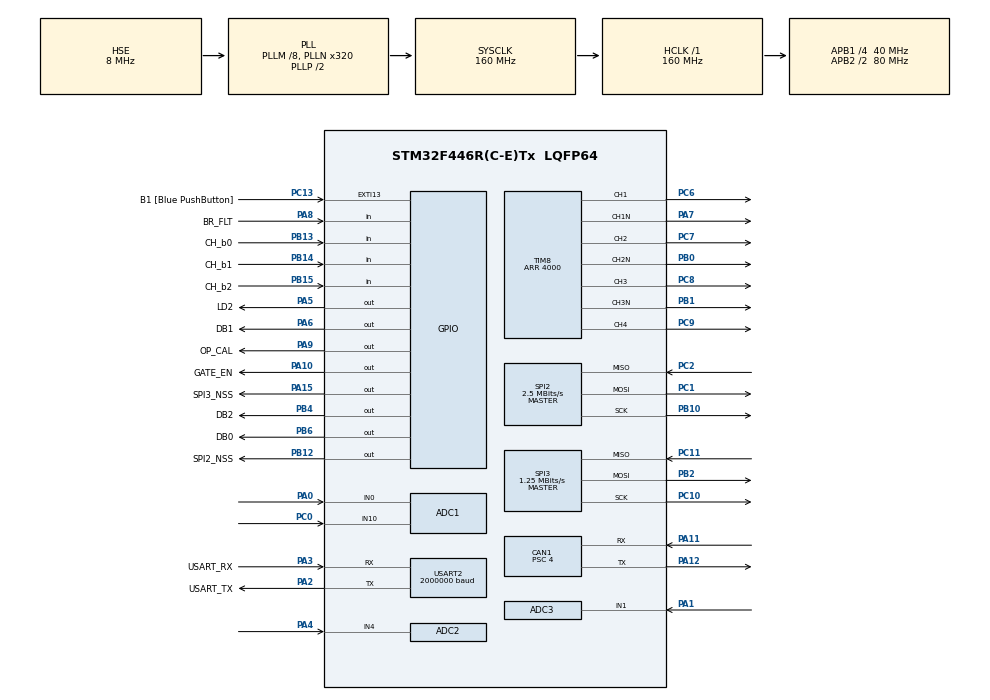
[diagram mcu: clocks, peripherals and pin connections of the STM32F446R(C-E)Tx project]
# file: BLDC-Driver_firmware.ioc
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ADC1.Channel-5\#ChannelRegularConversion=ADC_CHANNEL_0
ADC1.Channel-6\#ChannelInjectedConversion=ADC_CHANNEL_0
ADC1.Channel-7\#ChannelInjectedConversion=ADC_CHANNEL_10
ADC1.ExternalTrigInjecConv=ADC_EXTERNALTRIGINJECCONV_T8_CC4
ADC1.ExternalTrigInjecConvEdge=ADC_EXTERNALTRIGINJECCONVEDGE_RISING
ADC1.InjNumberOfConversion=2
ADC1.InjectedOffset-6\#ChannelInjectedConversion=0
ADC1.InjectedOffset-7\#ChannelInjectedConversion=0
ADC1.InjectedRank-6\#ChannelInjectedConversion=1
ADC1.InjectedRank-7\#ChannelInjectedConversion=2
ADC1.NbrOfConversionFlag=1
ADC1.Rank-5\#ChannelRegularConversion=1
ADC1.SamplingTime-5\#ChannelRegularConversion=ADC_SAMPLETIME_3CYCLES
ADC1.SamplingTime-6\#ChannelInjectedConversion=ADC_SAMPLETIME_3CYCLES
ADC1.SamplingTime-7\#ChannelInjectedConversion=ADC_SAMPLETIME_3CYCLES
ADC1.master=1
ADC2.Channel-0\#ChannelRegularConversion=ADC_CHANNEL_4
ADC2.Channel-1\#ChannelInjectedConversion=ADC_CHANNEL_4
ADC2.ExternalTrigInjecConv=ADC_EXTERNALTRIGINJECCONV_T8_CC4
ADC2.ExternalTrigInjecConvEdge=ADC_EXTERNALTRIGINJECCONVEDGE_RISING
ADC2.InjNumberOfConversion=1
ADC2.InjectedOffset-1\#ChannelInjectedConversion=0
ADC2.InjectedRank-1\#ChannelInjectedConversion=1
ADC2.NbrOfConversionFlag=1
ADC2.Rank-0\#ChannelRegularConversion=1
ADC2.SamplingTime-0\#ChannelRegularConversion=ADC_SAMPLETIME_3CYCLES
ADC2.SamplingTime-1\#ChannelInjectedConversion=ADC_SAMPLETIME_3CYCLES
ADC2.ScanConvMode=ENABLE
ADC3.Channel-0\#ChannelRegularConversion=ADC_CHANNEL_1
ADC3.Channel-1\#ChannelInjectedConversion=ADC_CHANNEL_1
ADC3.ExternalTrigInjecConv=ADC_EXTERNALTRIGINJECCONV_T8_CC4
ADC3.ExternalTrigInjecConvEdge=ADC_EXTERNALTRIGINJECCONVEDGE_RISING
ADC3.InjNumberOfConversion=1
ADC3.InjectedOffset-1\#ChannelInjectedConversion=0
ADC3.InjectedRank-1\#ChannelInjectedConversion=1
ADC3.NbrOfConversionFlag=1
ADC3.Rank-0\#ChannelRegularConversion=1
ADC3.SamplingTime-0\#ChannelRegularConversion=ADC_SAMPLETIME_3CYCLES
ADC3.SamplingTime-1\#ChannelInjectedConversion=ADC_SAMPLETIME_3CYCLES
ADC3.ScanConvMode=ENABLE
CAN1.ABOM=ENABLE
CAN1.AWUM=ENABLE
CAN1.BS1=CAN_BS1_6TQ
CAN1.BS2=CAN_BS2_3TQ
CAN1.CalculateBaudRate=1000000
CAN1.CalculateTimeBit=1000
CAN1.CalculateTimeQuantum=100.0
CAN1.NART=ENABLE
CAN1.Prescaler=4
CAN1.SJW=CAN_SJW_2TQ
Dma.Request0=USART2_RX
Dma.USART2_RX.0.Direction=DMA_PERIPH_TO_MEMORY
Dma.USART2_RX.0.FIFOMode=DMA_FIFOMODE_DISABLE
Dma.USART2_RX.0.Instance=DMA1_Stream5
Dma.USART2_RX.0.MemDataAlignment=DMA_MDATAALIGN_BYTE
Dma.USART2_RX.0.MemInc=DMA_MINC_ENABLE
Dma.USART2_RX.0.Mode=DMA_CIRCULAR
Dma.USART2_RX.0.PeriphDataAlignment=DMA_PDATAALIGN_BYTE
Dma.USART2_RX.0.PeriphInc=DMA_PINC_DISABLE
Dma.USART2_RX.0.Priority=DMA_PRIORITY_LOW
Mcu.Family=STM32F4
Mcu.Name=STM32F446R(C-E)Tx
Mcu.Package=LQFP64
NVIC.ADC_IRQn=true\:0\:0\:true\:false\:true\:true\:true\:true
NVIC.CAN1_RX0_IRQn=true\:3\:0\:true\:false\:true\:true\:true\:true
NVIC.DMA1_Stream5_IRQn=true\:2\:0\:true\:false\:true\:false\:true\:true
NVIC.PriorityGroup=NVIC_PRIORITYGROUP_2
NVIC.SPI2_IRQn=true\:2\:0\:true\:false\:true\:true\:true\:true
NVIC.TIM8_UP_TIM13_IRQn=true\:1\:0\:true\:false\:true\:true\:true\:true
NVIC.USART2_IRQn=true\:3\:0\:true\:false\:true\:true\:true\:true
PA0-WKUP.Signal=ADCx_IN0
PA1.Signal=ADCx_IN1
PA10.GPIO_Label=GATE_EN
PA10.Signal=GPIO_Output
PA11.Mode=CAN_Activate
PA11.Signal=CAN1_RX
PA12.Mode=CAN_Activate
PA12.Signal=CAN1_TX
PA13.GPIO_Label=TMS
PA13.Mode=Serial_Wire
PA13.Signal=SYS_JTMS-SWDIO
PA14.GPIO_Label=TCK
PA14.Mode=Serial_Wire
PA14.Signal=SYS_JTCK-SWCLK
PA15.GPIO_Label=SPI3_NSS
PA15.Signal=GPIO_Output
PA2.GPIO_Label=USART_TX
PA2.Mode=Asynchronous
PA2.Signal=USART2_TX
PA3.GPIO_Label=USART_RX
PA3.Mode=Asynchronous
PA3.Signal=USART2_RX
PA4.Signal=ADCx_IN4
PA5.GPIO_Label=LD2
PA5.Signal=GPIO_Output
PA6.GPIO_Label=DB1
PA6.Signal=GPIO_Output
PA7.Mode=PWM Generation1 CH1 CH1N
PA7.Signal=TIM8_CH1N
PA8.GPIO_Label=BR_FLT
PA8.Signal=GPIO_Input
PA9.GPIO_Label=OP_CAL
PA9.Signal=GPIO_Output
PB0.Mode=PWM Generation2 CH2 CH2N
PB0.Signal=TIM8_CH2N
PB1.Mode=PWM Generation3 CH3 CH3N
PB1.Signal=TIM8_CH3N
PB10.Mode=Full_Duplex_Master
PB10.Signal=SPI2_SCK
PB12.GPIO_Label=SPI2_NSS
PB12.Signal=GPIO_Output
PB13.GPIO_Label=CH_b0
PB13.GPIO_PuPd=GPIO_PULLUP
PB13.Signal=GPIO_Input
PB14.GPIO_Label=CH_b1
PB14.GPIO_PuPd=GPIO_PULLUP
PB14.Signal=GPIO_Input
PB15.GPIO_Label=CH_b2
PB15.GPIO_PuPd=GPIO_PULLUP
PB15.Signal=GPIO_Input
PB2.Mode=Full_Duplex_Master
PB2.Signal=SPI3_MOSI
PB3.GPIO_Label=SWO
PB3.Signal=SYS_JTDO-SWO
PB4.GPIO_Label=DB2
PB4.Signal=GPIO_Output
PB6.GPIO_Label=DB0
PB6.Signal=GPIO_Output
PC0.Signal=ADCx_IN10
PC1.Mode=Full_Duplex_Master
PC1.Signal=SPI2_MOSI
PC10.Mode=Full_Duplex_Master
PC10.Signal=SPI3_SCK
PC11.Mode=Full_Duplex_Master
PC11.Signal=SPI3_MISO
PC13.GPIO_Label=B1 [Blue PushButton]
PC13.GPIO_ModeDefaultEXTI=GPIO_MODE_IT_FALLING
PC13.Signal=GPXTI13
PC14-OSC32_IN.Mode=LSE-External-Oscillator
PC14-OSC32_IN.Signal=RCC_OSC32_IN
PC15-OSC32_OUT.Mode=LSE-External-Oscillator
PC15-OSC32_OUT.Signal=RCC_OSC32_OUT
PC2.Mode=Full_Duplex_Master
PC2.Signal=SPI2_MISO
PC6.Signal=S_TIM8_CH1
PC7.Signal=S_TIM8_CH2
PC8.Signal=S_TIM8_CH3
PC9.Signal=S_TIM8_CH4
PH0-OSC_IN.Mode=HSE-External-Oscillator
PH0-OSC_IN.Signal=RCC_OSC_IN
PH1-OSC_OUT.Mode=HSE-External-Oscillator
PH1-OSC_OUT.Signal=RCC_OSC_OUT
ProjectManager.HeapSize=0x200
ProjectManager.StackSize=0x400
ProjectManager.TargetToolchain=STM32CubeIDE
RCC.48MHZClocksFreq_Value=84000000
RCC.AHBFreq_Value=160000000
RCC.APB1CLKDivider=RCC_HCLK_DIV4
RCC.APB1Freq_Value=40000000
RCC.APB1TimFreq_Value=80000000
RCC.APB2CLKDivider=RCC_HCLK_DIV2
RCC.APB2Freq_Value=80000000
RCC.APB2TimFreq_Value=160000000
RCC.CortexFreq_Value=160000000
RCC.FLatency-AdvancedSettings=FLASH_LATENCY_5
RCC.HCLKFreq_Value=160000000
RCC.HSE_VALUE=8000000
RCC.HSI_VALUE=16000000
RCC.PLLM=8
RCC.PLLN=320
RCC.PLLSourceVirtual=RCC_PLLSOURCE_HSE
RCC.SYSCLKFreq_VALUE=160000000
RCC.SYSCLKSource=RCC_SYSCLKSOURCE_PLLCLK
RCC.USBFreq_Value=160000000
RCC.VCOOutputFreq_Value=320000000
SH.ADCx_IN0.0=ADC1_IN0,IN0
SH.ADCx_IN1.0=ADC3_IN1,IN1
SH.ADCx_IN10.0=ADC1_IN10,IN10
SH.ADCx_IN4.0=ADC2_IN4,IN4
SH.S_TIM8_CH1.0=TIM8_CH1,PWM Generation1 CH1 CH1N
SH.S_TIM8_CH2.0=TIM8_CH2,PWM Generation2 CH2 CH2N
SH.S_TIM8_CH3.0=TIM8_CH3,PWM Generation3 CH3 CH3N
SH.S_TIM8_CH4.0=TIM8_CH4,PWM Generation4 CH4
SPI2.BaudRatePrescaler=SPI_BAUDRATEPRESCALER_16
SPI2.CLKPhase=SPI_PHASE_2EDGE
SPI2.CalculateBaudRate=2.5 MBits/s
SPI2.DataSize=SPI_DATASIZE_16BIT
SPI2.Direction=SPI_DIRECTION_2LINES
SPI2.Mode=SPI_MODE_MASTER
SPI2.VirtualType=VM_MASTER
SPI3.BaudRatePrescaler=SPI_BAUDRATEPRESCALER_32
SPI3.CLKPhase=SPI_PHASE_2EDGE
SPI3.CalculateBaudRate=1.25 MBits/s
SPI3.DataSize=SPI_DATASIZE_8BIT
SPI3.Direction=SPI_DIRECTION_2LINES
SPI3.FirstBit=SPI_FIRSTBIT_MSB
SPI3.Mode=SPI_MODE_MASTER
SPI3.VirtualType=VM_MASTER
TIM8.AutoReloadPreload=TIM_AUTORELOAD_PRELOAD_DISABLE
TIM8.BreakPolarity=TIM_BREAKPOLARITY_LOW
TIM8.Channel-PWM\ Generation1\ CH1\ CH1N=TIM_CHANNEL_1
TIM8.Channel-PWM\ Generation2\ CH2\ CH2N=TIM_CHANNEL_2
TIM8.Channel-PWM\ Generation3\ CH3\ CH3N=TIM_CHANNEL_3
TIM8.Channel-PWM\ Generation4\ CH4=TIM_CHANNEL_4
TIM8.CounterMode=TIM_COUNTERMODE_CENTERALIGNED1
TIM8.DeadTime=0
TIM8.OCNPolarity_3=TIM_OCNPOLARITY_HIGH
TIM8.Period=4000
TIM8.Pulse-PWM\ Generation1\ CH1\ CH1N=2000
TIM8.Pulse-PWM\ Generation2\ CH2\ CH2N=2000
TIM8.Pulse-PWM\ Generation3\ CH3\ CH3N=2000
TIM8.Pulse-PWM\ Generation4\ CH4=0
TIM8.TIM_MasterOutputTrigger=TIM_TRGO_OC4REF
TIM8.TIM_MasterSlaveMode=TIM_MASTERSLAVEMODE_DISABLE
USART2.BaudRate=2000000
USART2.VirtualMode=VM_ASYNC
board=NUCLEO-F446RE

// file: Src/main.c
/* USER CODE BEGIN Header */
/**
  ******************************************************************************
  * @file           : main.c
  * @brief          : Main program body
  ******************************************************************************
  * @attention
  *
  * <h2><center>&copy; Copyright (c) 2019 STMicroelectronics.
  * All rights reserved.</center></h2>
  *
  * This software component is licensed by ST under BSD 3-Clause license,
  * the "License"; You may not use this file except in compliance with the
  * License. You may obtain a copy of the License at:
  *                        opensource.org/licenses/BSD-3-Clause
  *
  ******************************************************************************
  */
/* USER CODE END Header */
#include "main.h"

/* USER CODE BEGIN Includes */

#include <stdio.h>
#include <stdarg.h>
#include <math.h>
//#include <md/dump_int.h>
#include <md/encoder.h>
#include <md/md_main.h>
#include <md/parameters.h>
#include <md/pwm.h>
#include <md/sin_t.h>
#include <motor_control.h>
#include <can_com.h>
#include <current_sensor.h>
#include <drv8323.h>
#include <int_math.h>
#include "ntshell.h"
#include "usrcmd.h"
#include "wave_capture.h"

/* USER CODE END Includes */

ADC_HandleTypeDef hadc1;
ADC_HandleTypeDef hadc2;
ADC_HandleTypeDef hadc3;

CAN_HandleTypeDef hcan1;

SPI_HandleTypeDef hspi2;
SPI_HandleTypeDef hspi3;

TIM_HandleTypeDef htim8;

UART_HandleTypeDef huart2;
DMA_HandleTypeDef hdma_usart2_rx;

/* USER CODE BEGIN PV */

MD_Handler_t md_sys;

ntshell_t nts;

WaveCapture_t wavecap;

uint16_t timestamp_start = 0;
uint16_t timestamp_mid = 0;
uint16_t timestamp_end = 0;

/* USER CODE END PV */

void SystemClock_Config(void);
static void MX_GPIO_Init(void);
static void MX_DMA_Init(void);
static void MX_ADC1_Init(void);
static void MX_CAN1_Init(void);
static void MX_SPI2_Init(void);
static void MX_SPI3_Init(void);
static void MX_TIM8_Init(void);
static void MX_USART2_UART_Init(void);
static void MX_ADC2_Init(void);
static void MX_ADC3_Init(void);
/* USER CODE BEGIN PFP */

#if 1

#ifdef __GNUC__
#define PUTCHAR_PROTOTYPE int __io_putchar(int ch)
#else
#define PUTCHAR_PROTOTYPE int fputc(int ch, FILE *f)
#endif /* __GNUC__ */
void __io_putchar(uint8_t ch)
{
	HAL_UART_Transmit(&huart2, &ch, 1, 1);
}

#endif

#if 0
int _write(int file, char *ptr, int len)
{
  int DataIdx;
  for(DataIdx=0; DataIdx<len; DataIdx++)
  {
    ITM_SendChar(*ptr++);
  }
  return len;
}
#endif

#if 1
extern void initialise_monitor_handles(void);
#endif

int wave_tx_func(const uint8_t *buf, int length)
{
	HAL_StatusTypeDef status;
	status = HAL_UART_Transmit(&huart2, buf, (uint16_t)length, 1000);
	if(status != HAL_OK)
	{
		return 0;
	}
	return length;
}

/* USER CODE END PFP */

int main(void)
{

  /* MCU Configuration--------------------------------------------------------*/

  /* Reset of all peripherals, Initializes the Flash interface and the Systick. */
  HAL_Init();

  /* Configure the system clock */
  SystemClock_Config();

  /* Initialize all configured peripherals */
  MX_GPIO_Init();
  MX_DMA_Init();
  MX_ADC1_Init();
  MX_CAN1_Init();
  MX_SPI2_Init();
  MX_SPI3_Init();
  MX_TIM8_Init();
  MX_USART2_UART_Init();
  MX_ADC2_Init();
  MX_ADC3_Init();
  /* USER CODE BEGIN 2 */

  printf("Hello !!\r\n");

  //initialise_monitor_handles();

  ntshell_usr_init(&nts);

  // WWave Capture settings
  WaveCapture_Init_ChannelInfo_t wave_ch_init[] = {
//		  {"Vu_pu_2q13", WAVECAPTURE_TYPE_INT16, &(md_sys.motor.Vu_pu_2q13)},
//		  {"Vv_pu_2q13", WAVECAPTURE_TYPE_INT16, &(md_sys.motor.Vv_pu_2q13)},
//		  {"Vw_pu_2q13", WAVECAPTURE_TYPE_INT16, &(md_sys.motor.Vw_pu_2q13)},
//		  {"Vd_pu_2q13", WAVECAPTURE_TYPE_INT16, &(md_sys.motor.Vd_pu_2q13)},
//		  {"Vq_pu_2q13", WAVECAPTURE_TYPE_INT16, &(md_sys.motor.Vq_pu_2q13)},
		  {"Vgam_pu_2q13", WAVECAPTURE_TYPE_INT16, &(md_sys.motor.Vgam_pu_2q13)},
		  {"Vdel_pu_2q13", WAVECAPTURE_TYPE_INT16, &(md_sys.motor.Vdel_pu_2q13)},
//		  {"Vdc_pu_2q13", WAVECAPTURE_TYPE_INT16, &(md_sys.motor.Vdc_pu_2q13)},
//		  {"Iu_pu_2q13", WAVECAPTURE_TYPE_INT16, &(md_sys.motor.Iu_pu_2q13)},
//		  {"Iv_pu_2q13", WAVECAPTURE_TYPE_INT16, &(md_sys.motor.Iv_pu_2q13)},
//		  {"Iw_pu_2q13", WAVECAPTURE_TYPE_INT16, &(md_sys.motor.Iw_pu_2q13)},
		  {"Igam_pu_2q13", WAVECAPTURE_TYPE_INT16, &(md_sys.motor.Igam_pu_2q13)},
		  {"Idel_pu_2q13", WAVECAPTURE_TYPE_INT16, &(md_sys.motor.Idel_pu_2q13)},
//		  {"Egam_pu_2q13", WAVECAPTURE_TYPE_INT16, &(md_sys.motor.Egam_pu_2q13)},
//		  {"Edel_pu_2q13", WAVECAPTURE_TYPE_INT16, &(md_sys.motor.Edel_pu_2q13)},
		  {"Ea_pu_2q13", WAVECAPTURE_TYPE_INT16, &(md_sys.motor.Ea_pu_2q13)},
		  {"Eb_pu_2q13", WAVECAPTURE_TYPE_INT16, &(md_sys.motor.Eb_pu_2q13)},
		  {"theta_re", WAVECAPTURE_TYPE_INT16, &(md_sys.motor.theta_re_int)},
		  {"theta_rm", WAVECAPTURE_TYPE_INT16, &(md_sys.motor.theta_m_int)},
		  {"theta_re_est_int", WAVECAPTURE_TYPE_INT16, &(md_sys.motor.theta_re_est_int)},
		  {"timestamp_start", WAVECAPTURE_TYPE_INT16, &(timestamp_start)},
		  {"timestamp_mid", WAVECAPTURE_TYPE_INT16, &(timestamp_mid)},
		  {"timestamp_end", WAVECAPTURE_TYPE_INT16, &(timestamp_end)},
  };
  WaveCapture_Init_t wave_init;
  wave_init.channel_num = sizeof(wave_ch_init) / sizeof(WaveCapture_Init_ChannelInfo_t);
  wave_init.func_write = wave_tx_func;
  wave_init.sampling_length = 1024;
  wave_init.sampling_freq = 40000;
  wave_init.ch_info_array = wave_ch_init;
  int rtn = WaveCapture_Init(&wavecap, &wave_init);
  if(rtn != 0)
  {
	  printf("WaveCap Error !!\r\n");
	  Error_Handler();
  }

  // Set peripheral handler
  md_sys.pwm.htim = &htim8;
  md_sys.encoder.Init.hspi = &hspi2;
  md_sys.encoder.Init.SPI_NSS_Port = SPI2_NSS_GPIO_Port;
  md_sys.encoder.Init.SPI_NSS_Pin = SPI2_NSS_Pin;
  md_sys.currentSense.Init.hadc[0] = &hadc1;
  md_sys.currentSense.Init.hadc[1] = &hadc2;
  md_sys.currentSense.Init.hadc[2] = &hadc3;
  md_sys.drv8323.NSS_GPIOx = SPI3_NSS_GPIO_Port;
  md_sys.drv8323.NSS_GPIO_Pin = SPI3_NSS_Pin;
  md_sys.drv8323.hspi = &hspi3;
  md_sys.hcan = &hcan1;
  MD_Init(&md_sys);

  ntshell_execute(&nts);

  /* USER CODE END 2 */

  /* Infinite loop */
  while(1)
  {

    /* USER CODE BEGIN 3 */

	if(MD_Update_Async(&md_sys) != 0) break;

  }

  MD_End(&md_sys);

  while(1);

  /* USER CODE END 3 */
}

void SystemClock_Config(void)
{
  RCC_OscInitTypeDef RCC_OscInitStruct = {0};
  RCC_ClkInitTypeDef RCC_ClkInitStruct = {0};

  /** Configure the main internal regulator output voltage
  */
  __HAL_RCC_PWR_CLK_ENABLE();
  __HAL_PWR_VOLTAGESCALING_CONFIG(PWR_REGULATOR_VOLTAGE_SCALE1);
  /** Initializes the RCC Oscillators according to the specified parameters
  * in the RCC_OscInitTypeDef structure.
  */
  RCC_OscInitStruct.OscillatorType = RCC_OSCILLATORTYPE_HSE;
  RCC_OscInitStruct.HSEState = RCC_HSE_ON;
  RCC_OscInitStruct.PLL.PLLState = RCC_PLL_ON;
  RCC_OscInitStruct.PLL.PLLSource = RCC_PLLSOURCE_HSE;
  RCC_OscInitStruct.PLL.PLLM = 8;
  RCC_OscInitStruct.PLL.PLLN = 320;
  RCC_OscInitStruct.PLL.PLLP = RCC_PLLP_DIV2;
  RCC_OscInitStruct.PLL.PLLQ = 2;
  RCC_OscInitStruct.PLL.PLLR = 2;
  if (HAL_RCC_OscConfig(&RCC_OscInitStruct) != HAL_OK)
  {
    Error_Handler();
  }
  /** Initializes the CPU, AHB and APB buses clocks
  */
  RCC_ClkInitStruct.ClockType = RCC_CLOCKTYPE_HCLK|RCC_CLOCKTYPE_SYSCLK
                              |RCC_CLOCKTYPE_PCLK1|RCC_CLOCKTYPE_PCLK2;
  RCC_ClkInitStruct.SYSCLKSource = RCC_SYSCLKSOURCE_PLLCLK;
  RCC_ClkInitStruct.AHBCLKDivider = RCC_SYSCLK_DIV1;
  RCC_ClkInitStruct.APB1CLKDivider = RCC_HCLK_DIV4;
  RCC_ClkInitStruct.APB2CLKDivider = RCC_HCLK_DIV2;

  if (HAL_RCC_ClockConfig(&RCC_ClkInitStruct, FLASH_LATENCY_5) != HAL_OK)
  {
    Error_Handler();
  }
}

static void MX_ADC1_Init(void)
{

  ADC_ChannelConfTypeDef sConfig = {0};
  ADC_InjectionConfTypeDef sConfigInjected = {0};

  /** Configure the global features of the ADC (Clock, Resolution, Data Alignment and number of conversion)
  */
  hadc1.Instance = ADC1;
  hadc1.Init.ClockPrescaler = ADC_CLOCK_SYNC_PCLK_DIV4;
  hadc1.Init.Resolution = ADC_RESOLUTION_12B;
  hadc1.Init.ScanConvMode = ENABLE;
  hadc1.Init.ContinuousConvMode = DISABLE;
  hadc1.Init.DiscontinuousConvMode = DISABLE;
  hadc1.Init.ExternalTrigConvEdge = ADC_EXTERNALTRIGCONVEDGE_NONE;
  hadc1.Init.ExternalTrigConv = ADC_SOFTWARE_START;
  hadc1.Init.DataAlign = ADC_DATAALIGN_RIGHT;
  hadc1.Init.NbrOfConversion = 1;
  hadc1.Init.DMAContinuousRequests = DISABLE;
  hadc1.Init.EOCSelection = ADC_EOC_SINGLE_CONV;
  if (HAL_ADC_Init(&hadc1) != HAL_OK)
  {
    Error_Handler();
  }
  /** Configure for the selected ADC regular channel its corresponding rank in the sequencer and its sample time.
  */
  sConfig.Channel = ADC_CHANNEL_0;
  sConfig.Rank = 1;
  sConfig.SamplingTime = ADC_SAMPLETIME_3CYCLES;
  if (HAL_ADC_ConfigChannel(&hadc1, &sConfig) != HAL_OK)
  {
    Error_Handler();
  }
  /** Configures for the selected ADC injected channel its corresponding rank in the sequencer and its sample time
  */
  sConfigInjected.InjectedChannel = ADC_CHANNEL_0;
  sConfigInjected.InjectedRank = 1;
  sConfigInjected.InjectedNbrOfConversion = 2;
  sConfigInjected.InjectedSamplingTime = ADC_SAMPLETIME_3CYCLES;
  sConfigInjected.ExternalTrigInjecConvEdge = ADC_EXTERNALTRIGINJECCONVEDGE_RISING;
  sConfigInjected.ExternalTrigInjecConv = ADC_EXTERNALTRIGINJECCONV_T8_CC4;
  sConfigInjected.AutoInjectedConv = DISABLE;
  sConfigInjected.InjectedDiscontinuousConvMode = DISABLE;
  sConfigInjected.InjectedOffset = 0;
  if (HAL_ADCEx_InjectedConfigChannel(&hadc1, &sConfigInjected) != HAL_OK)
  {
    Error_Handler();
  }
  /** Configures for the selected ADC injected channel its corresponding rank in the sequencer and its sample time
  */
  sConfigInjected.InjectedChannel = ADC_CHANNEL_10;
  sConfigInjected.InjectedRank = 2;
  if (HAL_ADCEx_InjectedConfigChannel(&hadc1, &sConfigInjected) != HAL_OK)
  {
    Error_Handler();
  }

}

static void MX_ADC2_Init(void)
{

  ADC_ChannelConfTypeDef sConfig = {0};
  ADC_InjectionConfTypeDef sConfigInjected = {0};

  /** Configure the global features of the ADC (Clock, Resolution, Data Alignment and number of conversion)
  */
  hadc2.Instance = ADC2;
  hadc2.Init.ClockPrescaler = ADC_CLOCK_SYNC_PCLK_DIV4;
  hadc2.Init.Resolution = ADC_RESOLUTION_12B;
  hadc2.Init.ScanConvMode = ENABLE;
  hadc2.Init.ContinuousConvMode = DISABLE;
  hadc2.Init.DiscontinuousConvMode = DISABLE;
  hadc2.Init.ExternalTrigConvEdge = ADC_EXTERNALTRIGCONVEDGE_NONE;
  hadc2.Init.ExternalTrigConv = ADC_SOFTWARE_START;
  hadc2.Init.DataAlign = ADC_DATAALIGN_RIGHT;
  hadc2.Init.NbrOfConversion = 1;
  hadc2.Init.DMAContinuousRequests = DISABLE;
  hadc2.Init.EOCSelection = ADC_EOC_SINGLE_CONV;
  if (HAL_ADC_Init(&hadc2) != HAL_OK)
  {
    Error_Handler();
  }
  /** Configure for the selected ADC regular channel its corresponding rank in the sequencer and its sample time.
  */
  sConfig.Channel = ADC_CHANNEL_4;
  sConfig.Rank = 1;
  sConfig.SamplingTime = ADC_SAMPLETIME_3CYCLES;
  if (HAL_ADC_ConfigChannel(&hadc2, &sConfig) != HAL_OK)
  {
    Error_Handler();
  }
  /** Configures for the selected ADC injected channel its corresponding rank in the sequencer and its sample time
  */
  sConfigInjected.InjectedChannel = ADC_CHANNEL_4;
  sConfigInjected.InjectedRank = 1;
  sConfigInjected.InjectedNbrOfConversion = 1;
  sConfigInjected.InjectedSamplingTime = ADC_SAMPLETIME_3CYCLES;
  sConfigInjected.ExternalTrigInjecConvEdge = ADC_EXTERNALTRIGINJECCONVEDGE_RISING;
  sConfigInjected.ExternalTrigInjecConv = ADC_EXTERNALTRIGINJECCONV_T8_CC4;
  sConfigInjected.AutoInjectedConv = DISABLE;
  sConfigInjected.InjectedDiscontinuousConvMode = DISABLE;
  sConfigInjected.InjectedOffset = 0;
  if (HAL_ADCEx_InjectedConfigChannel(&hadc2, &sConfigInjected) != HAL_OK)
  {
    Error_Handler();
  }

}

static void MX_ADC3_Init(void)
{

  ADC_ChannelConfTypeDef sConfig = {0};
  ADC_InjectionConfTypeDef sConfigInjected = {0};

  /** Configure the global features of the ADC (Clock, Resolution, Data Alignment and number of conversion)
  */
  hadc3.Instance = ADC3;
  hadc3.Init.ClockPrescaler = ADC_CLOCK_SYNC_PCLK_DIV4;
  hadc3.Init.Resolution = ADC_RESOLUTION_12B;
  hadc3.Init.ScanConvMode = ENABLE;
  hadc3.Init.ContinuousConvMode = DISABLE;
  hadc3.Init.DiscontinuousConvMode = DISABLE;
  hadc3.Init.ExternalTrigConvEdge = ADC_EXTERNALTRIGCONVEDGE_NONE;
  hadc3.Init.ExternalTrigConv = ADC_SOFTWARE_START;
  hadc3.Init.DataAlign = ADC_DATAALIGN_RIGHT;
  hadc3.Init.NbrOfConversion = 1;
  hadc3.Init.DMAContinuousRequests = DISABLE;
  hadc3.Init.EOCSelection = ADC_EOC_SINGLE_CONV;
  if (HAL_ADC_Init(&hadc3) != HAL_OK)
  {
    Error_Handler();
  }
  /** Configure for the selected ADC regular channel its corresponding rank in the sequencer and its sample time.
  */
  sConfig.Channel = ADC_CHANNEL_1;
  sConfig.Rank = 1;
  sConfig.SamplingTime = ADC_SAMPLETIME_3CYCLES;
  if (HAL_ADC_ConfigChannel(&hadc3, &sConfig) != HAL_OK)
  {
    Error_Handler();
  }
  /** Configures for the selected ADC injected channel its corresponding rank in the sequencer and its sample time
  */
  sConfigInjected.InjectedChannel = ADC_CHANNEL_1;
  sConfigInjected.InjectedRank = 1;
  sConfigInjected.InjectedNbrOfConversion = 1;
  sConfigInjected.InjectedSamplingTime = ADC_SAMPLETIME_3CYCLES;
  sConfigInjected.ExternalTrigInjecConvEdge = ADC_EXTERNALTRIGINJECCONVEDGE_RISING;
  sConfigInjected.ExternalTrigInjecConv = ADC_EXTERNALTRIGINJECCONV_T8_CC4;
  sConfigInjected.AutoInjectedConv = DISABLE;
  sConfigInjected.InjectedDiscontinuousConvMode = DISABLE;
  sConfigInjected.InjectedOffset = 0;
  if (HAL_ADCEx_InjectedConfigChannel(&hadc3, &sConfigInjected) != HAL_OK)
  {
    Error_Handler();
  }

}

static void MX_CAN1_Init(void)
{

  hcan1.Instance = CAN1;
  hcan1.Init.Prescaler = 4;
  hcan1.Init.Mode = CAN_MODE_NORMAL;
  hcan1.Init.SyncJumpWidth = CAN_SJW_2TQ;
  hcan1.Init.TimeSeg1 = CAN_BS1_6TQ;
  hcan1.Init.TimeSeg2 = CAN_BS2_3TQ;
  hcan1.Init.TimeTriggeredMode = DISABLE;
  hcan1.Init.AutoBusOff = ENABLE;
  hcan1.Init.AutoWakeUp = ENABLE;
  hcan1.Init.AutoRetransmission = ENABLE;
  hcan1.Init.ReceiveFifoLocked = DISABLE;
  hcan1.Init.TransmitFifoPriority = DISABLE;
  if (HAL_CAN_Init(&hcan1) != HAL_OK)
  {
    Error_Handler();
  }

}

static void MX_SPI2_Init(void)
{

  /* SPI2 parameter configuration*/
  hspi2.Instance = SPI2;
  hspi2.Init.Mode = SPI_MODE_MASTER;
  hspi2.Init.Direction = SPI_DIRECTION_2LINES;
  hspi2.Init.DataSize = SPI_DATASIZE_16BIT;
  hspi2.Init.CLKPolarity = SPI_POLARITY_LOW;
  hspi2.Init.CLKPhase = SPI_PHASE_2EDGE;
  hspi2.Init.NSS = SPI_NSS_SOFT;
  hspi2.Init.BaudRatePrescaler = SPI_BAUDRATEPRESCALER_16;
  hspi2.Init.FirstBit = SPI_FIRSTBIT_MSB;
  hspi2.Init.TIMode = SPI_TIMODE_DISABLE;
  hspi2.Init.CRCCalculation = SPI_CRCCALCULATION_DISABLE;
  hspi2.Init.CRCPolynomial = 10;
  if (HAL_SPI_Init(&hspi2) != HAL_OK)
  {
    Error_Handler();
  }

}

static void MX_SPI3_Init(void)
{

  /* SPI3 parameter configuration*/
  hspi3.Instance = SPI3;
  hspi3.Init.Mode = SPI_MODE_MASTER;
  hspi3.Init.Direction = SPI_DIRECTION_2LINES;
  hspi3.Init.DataSize = SPI_DATASIZE_8BIT;
  hspi3.Init.CLKPolarity = SPI_POLARITY_LOW;
  hspi3.Init.CLKPhase = SPI_PHASE_2EDGE;
  hspi3.Init.NSS = SPI_NSS_SOFT;
  hspi3.Init.BaudRatePrescaler = SPI_BAUDRATEPRESCALER_32;
  hspi3.Init.FirstBit = SPI_FIRSTBIT_MSB;
  hspi3.Init.TIMode = SPI_TIMODE_DISABLE;
  hspi3.Init.CRCCalculation = SPI_CRCCALCULATION_DISABLE;
  hspi3.Init.CRCPolynomial = 10;
  if (HAL_SPI_Init(&hspi3) != HAL_OK)
  {
    Error_Handler();
  }

}

static void MX_TIM8_Init(void)
{

  TIM_MasterConfigTypeDef sMasterConfig = {0};
  TIM_OC_InitTypeDef sConfigOC = {0};
  TIM_BreakDeadTimeConfigTypeDef sBreakDeadTimeConfig = {0};

  htim8.Instance = TIM8;
  htim8.Init.Prescaler = 0;
  htim8.Init.CounterMode = TIM_COUNTERMODE_CENTERALIGNED1;
  htim8.Init.Period = 4000;
  htim8.Init.ClockDivision = TIM_CLOCKDIVISION_DIV1;
  htim8.Init.RepetitionCounter = 0;
  htim8.Init.AutoReloadPreload = TIM_AUTORELOAD_PRELOAD_DISABLE;
  if (HAL_TIM_PWM_Init(&htim8) != HAL_OK)
  {
    Error_Handler();
  }
  sMasterConfig.MasterOutputTrigger = TIM_TRGO_OC4REF;
  sMasterConfig.MasterSlaveMode = TIM_MASTERSLAVEMODE_DISABLE;
  if (HAL_TIMEx_MasterConfigSynchronization(&htim8, &sMasterConfig) != HAL_OK)
  {
    Error_Handler();
  }
  sConfigOC.OCMode = TIM_OCMODE_PWM1;
  sConfigOC.Pulse = 2000;
  sConfigOC.OCPolarity = TIM_OCPOLARITY_HIGH;
  sConfigOC.OCNPolarity = TIM_OCNPOLARITY_HIGH;
  sConfigOC.OCFastMode = TIM_OCFAST_DISABLE;
  sConfigOC.OCIdleState = TIM_OCIDLESTATE_RESET;
  sConfigOC.OCNIdleState = TIM_OCNIDLESTATE_RESET;
  if (HAL_TIM_PWM_ConfigChannel(&htim8, &sConfigOC, TIM_CHANNEL_1) != HAL_OK)
  {
    Error_Handler();
  }
  if (HAL_TIM_PWM_ConfigChannel(&htim8, &sConfigOC, TIM_CHANNEL_2) != HAL_OK)
  {
    Error_Handler();
  }
  if (HAL_TIM_PWM_ConfigChannel(&htim8, &sConfigOC, TIM_CHANNEL_3) != HAL_OK)
  {
    Error_Handler();
  }
  sConfigOC.Pulse = 0;
  if (HAL_TIM_PWM_ConfigChannel(&htim8, &sConfigOC, TIM_CHANNEL_4) != HAL_OK)
  {
    Error_Handler();
  }
  sBreakDeadTimeConfig.OffStateRunMode = TIM_OSSR_DISABLE;
  sBreakDeadTimeConfig.OffStateIDLEMode = TIM_OSSI_DISABLE;
  sBreakDeadTimeConfig.LockLevel = TIM_LOCKLEVEL_OFF;
  sBreakDeadTimeConfig.DeadTime = 0;
  sBreakDeadTimeConfig.BreakState = TIM_BREAK_DISABLE;
  sBreakDeadTimeConfig.BreakPolarity = TIM_BREAKPOLARITY_LOW;
  sBreakDeadTimeConfig.AutomaticOutput = TIM_AUTOMATICOUTPUT_DISABLE;
  if (HAL_TIMEx_ConfigBreakDeadTime(&htim8, &sBreakDeadTimeConfig) != HAL_OK)
  {
    Error_Handler();
  }
  HAL_TIM_MspPostInit(&htim8);

}

static void MX_USART2_UART_Init(void)
{

  huart2.Instance = USART2;
  huart2.Init.BaudRate = 2000000;
  huart2.Init.WordLength = UART_WORDLENGTH_8B;
  huart2.Init.StopBits = UART_STOPBITS_1;
  huart2.Init.Parity = UART_PARITY_NONE;
  huart2.Init.Mode = UART_MODE_TX_RX;
  huart2.Init.HwFlowCtl = UART_HWCONTROL_NONE;
  huart2.Init.OverSampling = UART_OVERSAMPLING_16;
  if (HAL_UART_Init(&huart2) != HAL_OK)
  {
    Error_Handler();
  }

}

static void MX_DMA_Init(void)
{

  /* DMA controller clock enable */
  __HAL_RCC_DMA1_CLK_ENABLE();

  /* DMA interrupt init */
  /* DMA1_Stream5_IRQn interrupt configuration */
  HAL_NVIC_SetPriority(DMA1_Stream5_IRQn, 2, 0);
  HAL_NVIC_EnableIRQ(DMA1_Stream5_IRQn);

}

static void MX_GPIO_Init(void)
{
  GPIO_InitTypeDef GPIO_InitStruct = {0};

  /* GPIO Ports Clock Enable */
  __HAL_RCC_GPIOC_CLK_ENABLE();
  __HAL_RCC_GPIOH_CLK_ENABLE();
  __HAL_RCC_GPIOA_CLK_ENABLE();
  __HAL_RCC_GPIOB_CLK_ENABLE();

  /*Configure GPIO pin Output Level */
  HAL_GPIO_WritePin(GPIOA, LD2_Pin|DB1_Pin|OP_CAL_Pin|GATE_EN_Pin
                          |SPI3_NSS_Pin, GPIO_PIN_RESET);

  /*Configure GPIO pin Output Level */
  HAL_GPIO_WritePin(GPIOB, SPI2_NSS_Pin|DB2_Pin|DB0_Pin, GPIO_PIN_RESET);

  /*Configure GPIO pin : B1_Pin */
  GPIO_InitStruct.Pin = B1_Pin;
  GPIO_InitStruct.Mode = GPIO_MODE_IT_FALLING;
  GPIO_InitStruct.Pull = GPIO_NOPULL;
  HAL_GPIO_Init(B1_GPIO_Port, &GPIO_InitStruct);

  /*Configure GPIO pins : LD2_Pin DB1_Pin OP_CAL_Pin GATE_EN_Pin
                           SPI3_NSS_Pin */
  GPIO_InitStruct.Pin = LD2_Pin|DB1_Pin|OP_CAL_Pin|GATE_EN_Pin
                          |SPI3_NSS_Pin;
  GPIO_InitStruct.Mode = GPIO_MODE_OUTPUT_PP;
  GPIO_InitStruct.Pull = GPIO_NOPULL;
  GPIO_InitStruct.Speed = GPIO_SPEED_FREQ_LOW;
  HAL_GPIO_Init(GPIOA, &GPIO_InitStruct);

  /*Configure GPIO pins : SPI2_NSS_Pin DB2_Pin DB0_Pin */
  GPIO_InitStruct.Pin = SPI2_NSS_Pin|DB2_Pin|DB0_Pin;
  GPIO_InitStruct.Mode = GPIO_MODE_OUTPUT_PP;
  GPIO_InitStruct.Pull = GPIO_NOPULL;
  GPIO_InitStruct.Speed = GPIO_SPEED_FREQ_LOW;
  HAL_GPIO_Init(GPIOB, &GPIO_InitStruct);

  /*Configure GPIO pins : CH_b0_Pin CH_b1_Pin CH_b2_Pin */
  GPIO_InitStruct.Pin = CH_b0_Pin|CH_b1_Pin|CH_b2_Pin;
  GPIO_InitStruct.Mode = GPIO_MODE_INPUT;
  GPIO_InitStruct.Pull = GPIO_PULLUP;
  HAL_GPIO_Init(GPIOB, &GPIO_InitStruct);

  /*Configure GPIO pin : BR_FLT_Pin */
  GPIO_InitStruct.Pin = BR_FLT_Pin;
  GPIO_InitStruct.Mode = GPIO_MODE_INPUT;
  GPIO_InitStruct.Pull = GPIO_NOPULL;
  HAL_GPIO_Init(BR_FLT_GPIO_Port, &GPIO_InitStruct);

}

/* USER CODE BEGIN 4 */

#if 1

void HAL_ADCEx_InjectedConvCpltCallback (ADC_HandleTypeDef * hadc)
//void HAL_ADC_ConvCpltCallback (ADC_HandleTypeDef * hadc)
{

	if(hadc->Instance != md_sys.currentSense.Init.hadc[0]->Instance) return;

	timestamp_start = htim8.Instance->CNT;

	MD_Update_SyncADC(&md_sys);

	timestamp_mid = htim8.Instance->CNT;

	WaveCapture_Sampling(&wavecap);

	timestamp_end = htim8.Instance->CNT;
}

#endif

void HAL_TIM_PeriodElapsedCallback (TIM_HandleTypeDef * htim)
{

	if(htim->Instance == TIM8)
	{

		MD_Update_SyncPWM(&md_sys);

	}

}

/* USER CODE END 4 */

void Error_Handler(void)
{
}

/************************ (C) COPYRIGHT STMicroelectronics *****END OF FILE****/
